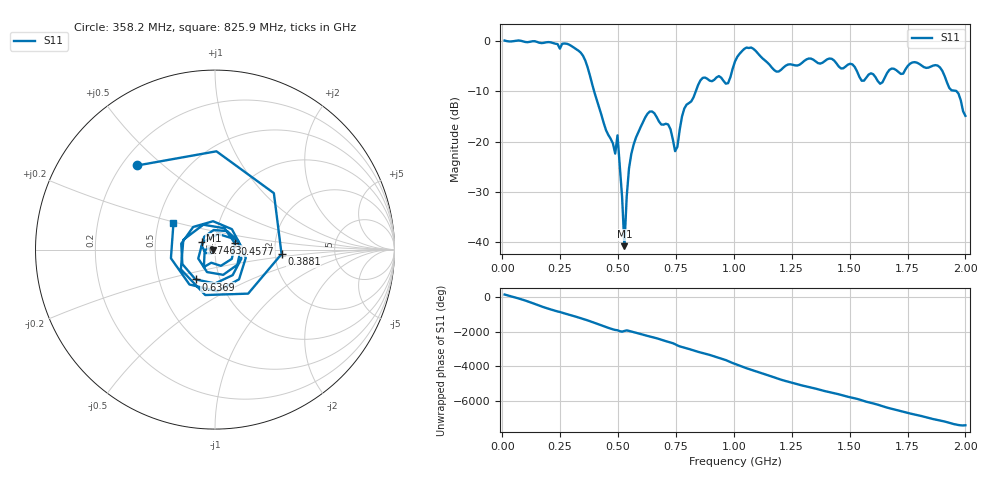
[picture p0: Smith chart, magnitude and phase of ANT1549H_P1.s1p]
!Created with skrf (http://scikit-rf.org).
# Hz S RI R 50.0
!freq ReS11 ImS11
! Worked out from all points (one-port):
!   201 points, 10 MHz to 2 GHz, reference 50 ohm
!   lowest |S11| = -40.7 dB at 527.4 MHz (marker M1), VSWR 1.02, Z = 49.1 - j0.262 ohm
!   |S11| at or under -10 dB: 396.5 MHz to 835.8 MHz (439.3 MHz wide, 71.3 % of centre); 1.961 GHz to end of sweep
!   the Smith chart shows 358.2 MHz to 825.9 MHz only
!   S11 on the Smith chart (normalised r, x): 358.2 MHz: 0.26, +0.41; 388.1 MHz: 2.17, -0.13; 457.8 MHz: 1.25, +0.09; 636.9 MHz: 0.76, -0.26; 746.3 MHz: 0.87, +0.07; 825.9 MHz: 0.60, +0.19
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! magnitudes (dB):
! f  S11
! 10 MHz  0.0
! 258.8 MHz  -0.6
! 358.2 MHz  -3.9
! 388.1 MHz  -8.6
! 457.8 MHz  -18.7
! 487.6 MHz  -22.4
! 497.6 MHz  -18.8
! 507.5 MHz  -24.8
! 527.4 MHz  -40.7
! 537.4 MHz  -30.9
! 557.2 MHz  -22.4
! 636.9 MHz  -14.0
! 716.5 MHz  -16.6
! 746.3 MHz  -21.9
! 756.2 MHz  -21.0
! 786.1 MHz  -13.4
! 825.9 MHz  -11.2
! 865.7 MHz  -7.4
! 975.1 MHz  -8.4
! 1.005 GHz  -4.1
! 1.075 GHz  -1.3
! 1.184 GHz  -6.1
! 1.254 GHz  -4.8
! 1.502 GHz  -4.6
! 1.632 GHz  -8.5
! 1.751 GHz  -5.0
! 1.891 GHz  -5.3
! 2 GHz  -14.9
